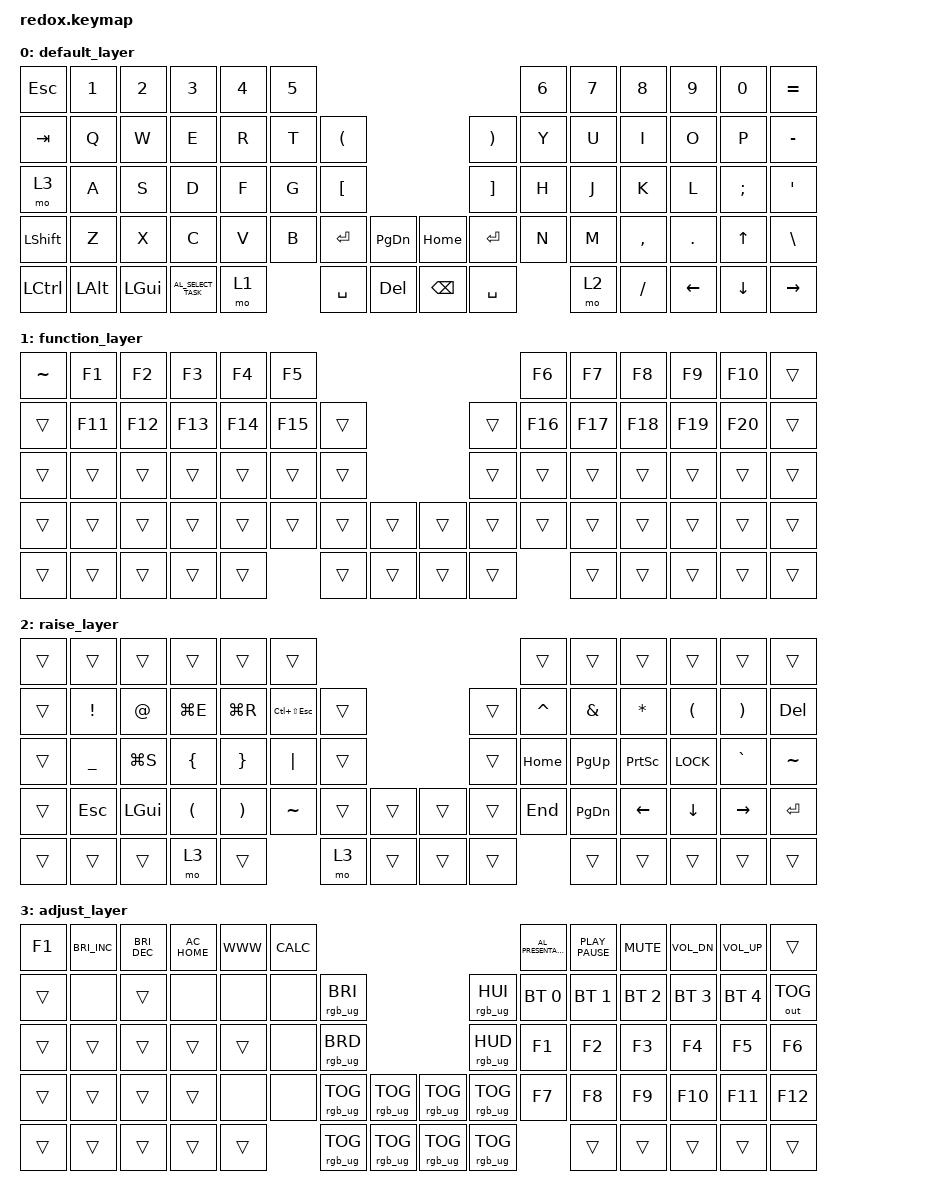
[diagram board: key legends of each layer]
/*
 * Copyright (c) 2021 The ZMK Contributors
 *
 * SPDX-License-Identifier: MIT
 */

#include <behaviors.dtsi>
#include <dt-bindings/zmk/bt.h>
#include <dt-bindings/zmk/keys.h>
#include <dt-bindings/zmk/outputs.h>
#include <dt-bindings/zmk/rgb.h>

/ {
    keymap {
        compatible = "zmk,keymap";

        default_layer {
            // --------------------------------------------------------------------------------------------------------------------------------
            // | ESC   |  1  |  2  |   3   |  4  |  5  |                   ---                |  6    |  7    |  8    |  9   | 0  |    BSPC   |
            // | TAB   |  Q  |  W  |   E   |  R  |  T  |   (   |           ---        |  )    |  Y    |  U    |  I    |  O   | P  |     -     |
            // | CTRL  |  A  |  S  |   D   |  F  |  G  |   [   |           ---        |  ]    |  H    |  J    |  K    |  L   | ;  |     '     |
            // | SHIFT |  Z  |  X  |   C   |  V  |  B  | PG_UP | PG_DOWN | --- | HOME | END   |  N    |  M    |  ,    |  .   | /  | SHFT(RET) |
            // | CRTL  | ALT | GUI | LOWER |    GUI    | LOWER | SPACE   | --- | DEL  | SPACE |     RAISE     | LEFT  | DOWN | UP |   RIGHT   |

            bindings = <
&kp ESC    &kp N1    &kp N2    &kp N3                &kp N4  &kp N5                                                    &kp N6  &kp N7  &kp N8     &kp N9    &kp N0        &kp EQUAL
&kp TAB    &kp Q     &kp W     &kp E                 &kp R   &kp T   &kp LPAR                               &kp RPAR   &kp Y   &kp U   &kp I      &kp O     &kp P         &kp MINUS
&mo 3      &kp A     &kp S     &kp D                 &kp F   &kp G   &kp LBKT                               &kp RBKT   &kp H   &kp J   &kp K      &kp L     &kp SEMI      &kp SQT
&kp LSHFT  &kp Z     &kp X     &kp C                 &kp V   &kp B   &kp ENTER  &kp PG_DN    &kp HOME       &kp ENTER  &kp N   &kp M   &kp COMMA  &kp DOT   &kp UP_ARROW  &kp BACKSLASH
&kp LCTRL  &kp LALT  &kp LGUI  &kp C_AL_SELECT_TASK  &mo 1           &kp SPACE  &kp DEL      &kp BACKSPACE  &kp SPACE          &mo 2   &kp SLASH  &kp LEFT  &kp DOWN      &kp RIGHT
            >;
        };

        function_layer {
            // --------------------------------------------------------------------------------------------------------------------------
            // | ESC   |  1  |  2  |   3   |   4   |  5  |                   ---              |  6  |  7  |   8  |  9   |  0  |  DEL  |
            // | ESC   |  1  |  2  |   3   |   4   |  5  |   (   |           ---        |  )  |  6  |  7  |   8  |  9   |  0  |  DEL  |
            // | CTRL  |  -  |  =  |   [   |   ]   |  \  |   [   |           ---        |  ]  |  *  |  4  |   5  |  6   |  +  |   -   |
            // | SHIFT | ESC | GUI | COPY  | PASTE |     | PG_UP | PG_DOWN | --- | HOME | END |  \  |  1  |   2  |  3   | RET |  RET  |
            // | CRTL  | ALT | GUI | LOWER |     GUI     | LOWER | SPACE   | --- | DEL  |  0  |    RAISE  | LEFT | DOWN | UP  | RIGHT |

            bindings = <
&kp TILDE  &kp F1   &kp F2   &kp F3   &kp F4   &kp F5                                     &kp F6   &kp F7   &kp F8   &kp F9   &kp F10  &trans
&trans     &kp F11  &kp F12  &kp F13  &kp F14  &kp F15  &trans                    &trans  &kp F16  &kp F17  &kp F18  &kp F19  &kp F20  &trans
&trans     &trans   &trans   &trans   &trans   &trans   &trans                    &trans  &trans   &trans   &trans   &trans   &trans   &trans
&trans     &trans   &trans   &trans   &trans   &trans   &trans  &trans    &trans  &trans  &trans   &trans   &trans   &trans   &trans   &trans
&trans     &trans   &trans   &trans   &trans            &trans  &trans    &trans  &trans           &trans   &trans   &trans   &trans   &trans
            >;
        };

        raise_layer {
            // ----------------------------------------------------------------------------------------------------------------------------
            // | ESC   |  1  |  2  |   3   |  4  |  5  |                   ---                |  6   |  7   |  8   |  9   |  0    |  DEL  |
            // | ESC   |  !  |  @  |   #   |  $  |  %  |   (   |           ---        |  )    |  ^   |  &   |  *   |  (   |  )    |  DEL  |
            // | CTRL  |  _  |  +  |   {   |  }  | "|" |   [   |           ---        |  ]    | HOME | PGUP | PRSC | UP   |  `    |   ~   |
            // | SHIFT | ESC | GUI |   (   |  )  |     | PG_UP | PG_DOWN | --- | HOME | END   | END  | PGDN | LEFT | DOWN | RIGHT |  RET  |
            // | CRTL  | ALT | GUI | LOWER |    GUI    | LOWER | SPACE   | --- | DEL  | SPACE |    RAISE    | LEFT | DOWN | UP    | RIGHT |

            bindings = <
&trans  &trans     &trans     &trans     &trans     &trans                                                &trans     &trans     &trans     &trans      &trans     &trans
&trans  &kp EXCL   &kp AT     &kp LG(E)  &kp LG(R)  &kp LC(LS(ESCAPE))  &trans                    &trans  &kp CARET  &kp AMPS   &kp ASTRK  &kp LPAR    &kp RPAR   &kp DEL
&trans  &kp UNDER  &kp LG(S)  &kp LBRC   &kp RBRC   &kp PIPE            &trans                    &trans  &kp HOME   &kp PG_UP  &kp PSCRN  &kp K_LOCK  &kp GRAVE  &kp TILDE
&trans  &kp ESC    &kp LGUI   &kp LPAR   &kp RPAR   &kp TILDE           &trans  &trans    &trans  &trans  &kp END    &kp PG_DN  &kp LEFT   &kp DOWN    &kp RIGHT  &kp RET
&trans  &trans     &trans     &mo 3      &trans                         &mo 3   &trans    &trans  &trans             &trans     &trans     &trans      &trans     &trans
            >;
        };

        adjust_layer {
            // -----------------------------------------------------------------------------------------
            // |  F1   |  F2   |    F3    |    F4     |     F5     | F6 |                   ---                | F7  | F8  |  F9  |  F10 | F11 | F12        |
            // | TAB   |       |          |           |            |    | BOOTL |           ---        |  )    | BT1 | BT2 |  BT3 |  BT4 | BT5 | OUTPUT TGL |
            // | CTRL  | MUTE  |  Vol Dn  |  Vol Up   | Play/Pause |    | RESET |           ---        |  ]    | F1  | F2  |  F3  |  F4  | F5  | F6         |
            // | SHIFT | PSCRN |  PSCRN   |   CAPS    |            |    | PG_UP | PG_DOWN | --- | HOME | END   | F7  | F8  |  F9  |  F10 | F11 | F12        |
            // | CRTL  | ALT   |  GUI     |   LOWER   |      GUI        | LOWER | SPACE   | --- | DEL  | SPACE |   RAISE   | LEFT | DOWN | UP  |   RIGHT    |

            bindings = <
&kp F1  &kp C_BRIGHTNESS_INC  &kp C_BRIGHTNESS_DEC  &kp C_AC_HOME  &kp K_WWW  &kp K_CALC                                                                        &kp C_AL_PRESENTATION  &kp K_PLAY_PAUSE  &kp K_MUTE    &kp C_VOL_DN  &kp C_VOLUME_UP  &trans
&trans  &none                 &trans                &none          &none      &none       &rgb_ug RGB_BRI                                      &rgb_ug RGB_HUI  &bt BT_SEL 0           &bt BT_SEL 1      &bt BT_SEL 2  &bt BT_SEL 3  &bt BT_SEL 4     &out OUT_TOG
&trans  &trans                &trans                &trans         &trans     &none       &rgb_ug RGB_BRD                                      &rgb_ug RGB_HUD  &kp F1                 &kp F2            &kp F3        &kp F4        &kp F5           &kp F6
&trans  &trans                &trans                &trans         &none      &none       &rgb_ug RGB_TOG  &rgb_ug RGB_TOG    &rgb_ug RGB_TOG  &rgb_ug RGB_TOG  &kp F7                 &kp F8            &kp F9        &kp F10       &kp F11          &kp F12
&trans  &trans                &trans                &trans         &trans                 &rgb_ug RGB_TOG  &rgb_ug RGB_TOG    &rgb_ug RGB_TOG  &rgb_ug RGB_TOG                         &trans            &trans        &trans        &trans           &trans
            >;
        };
    };
};
